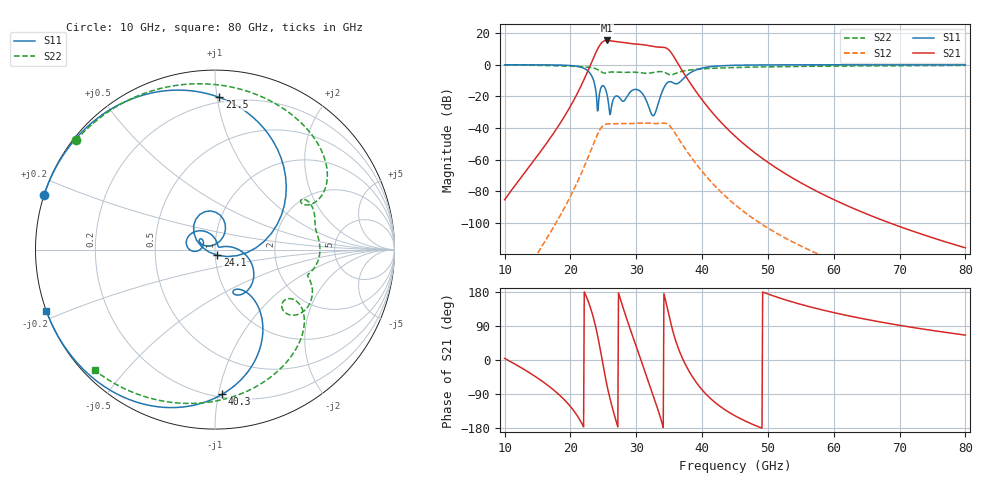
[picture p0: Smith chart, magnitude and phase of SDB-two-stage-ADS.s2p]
! Created Fri May  5 22:11:50 2023
# hz S ma R 50
! 2 Port Network Data from SP1.SP block
! freq  magS11  angS11  magS21  angS21  magS12  angS12  magS22  angS22
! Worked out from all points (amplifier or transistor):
!   701 points, 10 GHz to 80 GHz, reference 50 ohm
!   highest |S21| = 15.3 dB at 25.5 GHz (marker M1)
!   |S21| within 3 dB of that: 24.46 GHz to 31.56 GHz (7.1 GHz wide, 25.3 % of centre)
!   unconditionally stable (mu >= 1): start of sweep to end of sweep
!   at 21.6 GHz: K = 491.16, MAG = -2.1 dB, |S12| = -69.1 dB
!   at 45 GHz: K = 59474.04, MAG = -29.1 dB, |S12| = -88.4 dB
!   at 80 GHz: K = 431679369.70, MAG = -120.0 dB, |S12| = -149.6 dB
!   S11 on the Smith chart (normalised r, x): 10 GHz: 0.00, +0.16; 21.5 GHz: 0.17, +1.01; 24.1 GHz: 1.03, -0.07; 40.3 GHz: 0.22, -1.03; 80 GHz: 0.00, -0.17
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1e10  0.9996 162.3  5.441e-05 4.2  1.954e-08 -134.2  0.9847 141.8
2.15e10  0.8484 88.4  0.1919 -160.2  0.0003139 106.3  0.8723 63.7
2.17e10  0.8251 83.9  0.2342 -166.4  0.0003901 100.8  0.8676 61.6
2.33e10  0.4165 27.4  1.311 123.3  0.002511 36.4  0.8025 41.4
2.41e10  0.03473 -66.7  3.051 66.4  0.006243 -17.6  0.7079 29.4
2.49e10  0.2188 104.8  5.308 -7.9  0.01158 -89.0  0.5614 26.3
2.55e10  0.1286 63.0  5.853 -62.6  0.01337 -141.6  0.556 30.0
2.61e10  0.03049 136.0  5.685 -108.1  0.01359 175.1  0.5861 26.8
2.7e10  0.1032 146.9  5.368 -165.0  0.01371 121.3  0.5855 18.4
2.87e10  0.1077 -174.8  4.815 100.8  0.01385 33.0  0.5795 6.2
2.99e10  0.167 159.7  4.504 40.8  0.01403 -22.9  0.5793 -5.4
3.08e10  0.1329 127.8  4.353 -4.3  0.01436 -65.0  0.5505 -12.7
3.21e10  0.0357 68.6  3.944 -70.7  0.0141 -127.1  0.5471 -17.0
3.34e10  0.06609 15.3  3.609 -136.8  0.01393 171.0  0.6047 -27.5
3.42e10  0.1872 -13.0  3.534 175.0  0.01429 125.5  0.5847 -38.2
3.5e10  0.2908 -50.5  2.88 115.6  0.01217 68.5  0.4881 -40.4
3.61e10  0.2491 -63.6  1.31 44.9  0.005877 1.3  0.5444 -32.4
4.03e10  0.8076 -87.2  0.06464 -84.6  0.0003584 -115.5  0.7471 -58.6
4.5e10  0.9618 -119.6  0.005536 -147.2  3.79e-05 -164.9  0.8168 -80.0
5.67e10  0.9967 -145.7  0.0001202 138.9  1.276e-06 150.6  0.8944 -109.8
6.84e10  0.9993 -155.1  1.023e-05 96.2  1.546e-07 132.5  0.9296 -125.4
8e10  0.9998 -160.2  1.64e-06 65.7  3.323e-08 122.6  0.9491 -135.0
